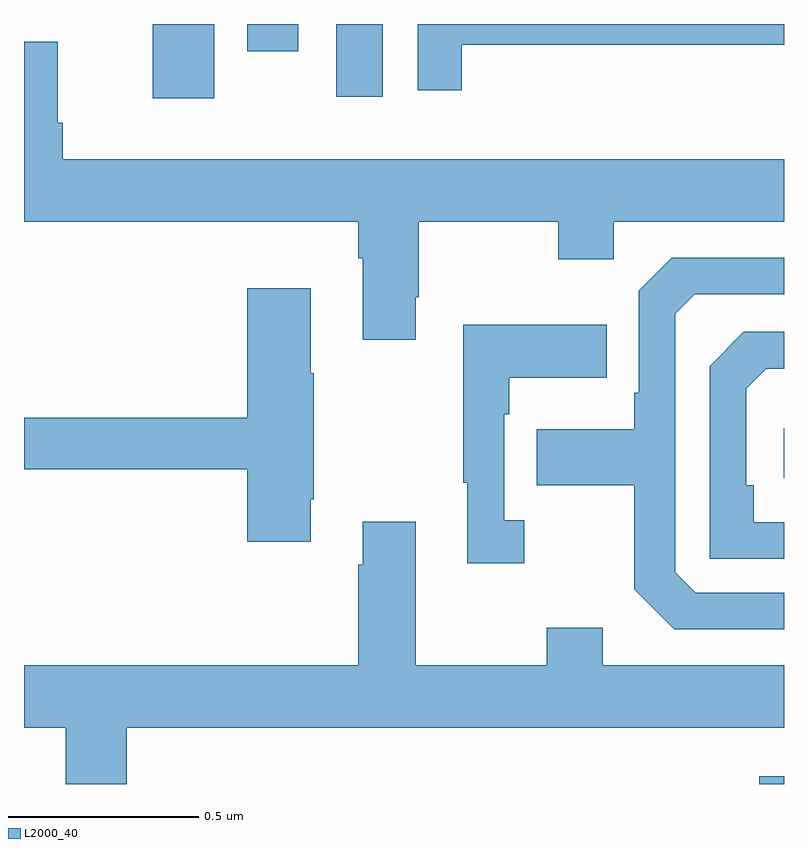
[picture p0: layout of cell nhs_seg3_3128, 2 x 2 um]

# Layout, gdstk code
import gdstk
lib = gdstk.Library(unit=1e-6, precision=1e-09)
def R(c, l, rs):  # rectangles x0, y0, x1, y1
    for r in rs: c.add(gdstk.rectangle(r[:2], r[2:], *l))
def P(c, l, *ps):  # polygons
    for p in ps: c.add(gdstk.Polygon(p, *l))
L2000_40 = (2000, 40)

nhs_seg3_3128 = lib.new_cell('nhs_seg3_3128')
R(nhs_seg3_3128, L2000_40, [(150.935,735.4,151,735.421), (150.999,736.206,151,736.336), (149.339,737.205,149.5,737.4), (149.822,737.208,149.944,737.4), (149.588,737.328,149.722,737.4)])
P(nhs_seg3_3128, L2000_40, [(150.152,737.346),(151,737.346),(151,737.4),(150.036,737.4),(150.036,737.226),(150.152,737.226)],
  [(150.031,736.681),(150.039,736.681),(150.039,736.88),(150.406,736.88),(150.406,736.781),(150.552,736.781),(150.552,736.88),(151,736.88),(151,737.044),(149.102,737.044),(149.102,737.14),(149.089,737.14),(149.089,737.353),(149,737.353),(149,736.88),(149.879,736.88),(149.879,736.784),(149.891,736.784),(149.891,736.569),(150.031,736.569)],
  [(151,735.903),(150.768,735.903),(150.714,735.957),(150.714,736.638),(150.765,736.689),(151,736.689),(151,736.785),(150.705,736.785),(150.618,736.698),(150.618,736.429),(150.606,736.429),(150.606,736.333),(150.349,736.333),(150.349,736.186),(150.606,736.186),(150.606,735.913),(150.711,735.807),(151,735.807)],
  [(149.755,736.15),(149.763,736.15),(149.763,736.481),(149.755,736.481),(149.755,736.705),(149.588,736.705),(149.588,736.364),(149,736.364),(149,736.228),(149.588,736.228),(149.588,736.038),(149.755,736.038)],
  [(150.316,736.094),(150.264,736.094),(150.264,736.373),(150.277,736.373),(150.277,736.469),(150.533,736.469),(150.533,736.609),(150.156,736.609),(150.156,736.193),(150.167,736.193),(150.167,735.981),(150.316,735.981)],
  [(151,736.089),(150.92,736.089),(150.92,736.186),(150.9,736.186),(150.9,736.44),(150.953,736.493),(151,736.493),(151,736.59),(150.894,736.59),(150.804,736.5),(150.804,735.993),(151,735.993)],
  [(149,735.548),(149.11,735.548),(149.11,735.4),(149.27,735.4),(149.27,735.548),(151,735.548),(151,735.712),(150.523,735.712),(150.523,735.811),(150.376,735.811),(150.376,735.712),(150.031,735.712),(150.031,736.09),(149.891,736.09),(149.891,735.977),(149.879,735.977),(149.879,735.712),(149,735.712)])

lib.write_gds('nhs_seg3_3128.gds')
